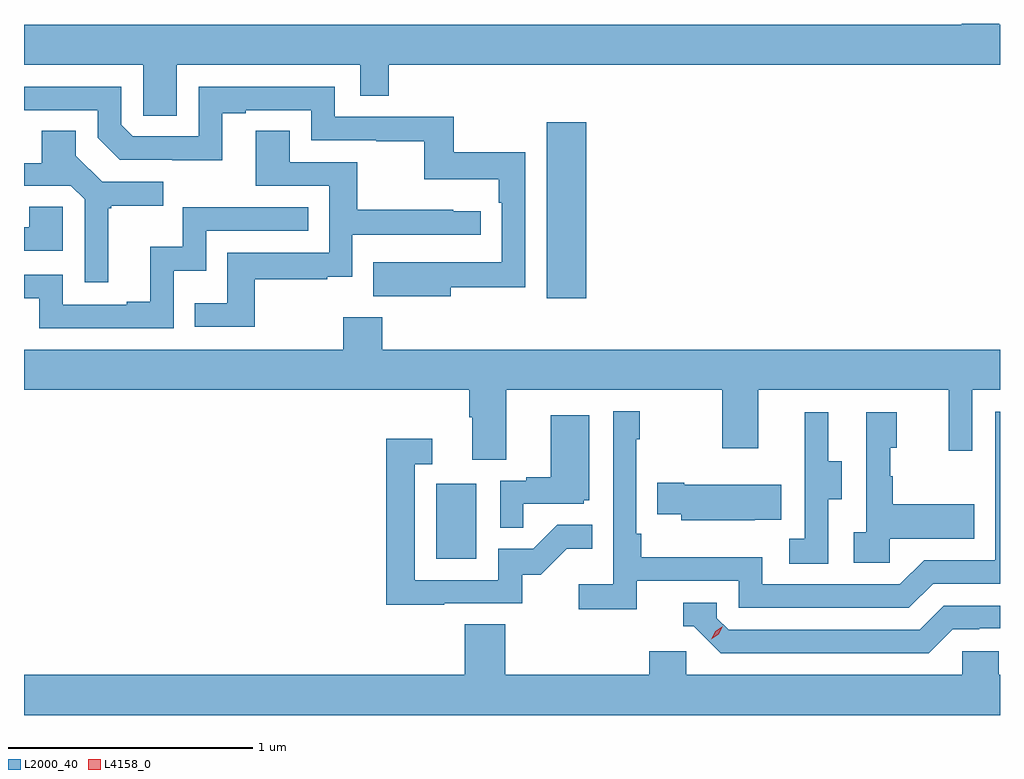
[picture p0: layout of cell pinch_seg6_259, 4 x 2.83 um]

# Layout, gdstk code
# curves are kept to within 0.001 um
import gdstk
lib = gdstk.Library(unit=1e-6, precision=1e-09)
def R(c, l, rs):  # rectangles x0, y0, x1, y1
    for r in rs: c.add(gdstk.rectangle(r[:2], r[2:], *l))
def P(c, l, *ps):  # polygons
    for p in ps: c.add(gdstk.Polygon(p, *l))
L2000_40 = (2000, 40)
L4158_0 = (4158, 0)

pinch_seg6_259 = lib.new_cell('pinch_seg6_259')
R(pinch_seg6_259, L2000_40, [(1081.736,917.34,1081.9,917.647), (1082.189,918.408,1082.35,919.129)])
P(pinch_seg6_259, L2000_40, [(1080.673,919.364),(1081.425,919.364),(1081.425,919.237),(1081.541,919.237),(1081.541,919.364),(1084.046,919.364),(1084.046,919.528),(1084.042,919.528),(1084.042,919.532),(1083.89,919.532),(1083.89,919.528),(1080.046,919.528),(1080.046,919.364),(1080.534,919.364),(1080.534,919.156),(1080.673,919.156)],
  [(1081.795,918.454),(1082.1,918.454),(1082.1,919.006),(1081.807,919.006),(1081.807,919.152),(1081.32,919.152),(1081.32,919.275),(1080.762,919.275),(1080.762,919.071),(1080.492,919.071),(1080.444,919.119),(1080.444,919.275),(1080.046,919.275),(1080.046,919.179),(1080.348,919.179),(1080.348,919.065),(1080.438,918.975),(1080.859,918.974),(1080.859,919.167),(1080.955,919.167),(1080.955,919.179),(1081.224,919.179),(1081.224,919.056),(1081.489,919.056),(1081.489,919.051),(1081.686,919.051),(1081.686,918.896),(1081.991,918.896),(1081.991,918.8),(1082.004,918.8),(1082.004,918.555),(1081.477,918.556),(1081.477,918.416),(1081.795,918.416)],
  [(1080.391,918.777),(1080.403,918.777),(1080.403,918.788),(1080.616,918.788),(1080.616,918.885),(1080.366,918.885),(1080.259,918.992),(1080.259,919.094),(1080.119,919.094),(1080.119,918.962),(1080.046,918.962),(1080.046,918.87),(1080.237,918.87),(1080.294,918.813),(1080.294,918.474),(1080.391,918.474)],
  [(1080.991,918.486),(1081.289,918.486),(1081.289,918.497),(1081.392,918.497),(1081.392,918.669),(1081.918,918.669),(1081.918,918.765),(1081.805,918.765),(1081.805,918.77),(1081.412,918.77),(1081.412,918.966),(1081.135,918.966),(1081.135,919.094),(1080.995,919.094),(1080.995,918.87),(1081.296,918.87),(1081.296,918.594),(1080.88,918.594),(1080.88,918.388),(1080.745,918.388),(1080.745,918.291),(1080.991,918.291)],
  [(1080.204,918.783),(1080.067,918.783),(1080.067,918.699),(1080.046,918.699),(1080.046,918.603),(1080.204,918.603)],
  [(1080.66,918.521),(1080.792,918.521),(1080.792,918.684),(1081.211,918.684),(1081.211,918.78),(1080.696,918.78),(1080.696,918.619),(1080.563,918.619),(1080.563,918.394),(1080.467,918.394),(1080.467,918.381),(1080.204,918.381),(1080.204,918.504),(1080.046,918.504),(1080.046,918.408),(1080.108,918.408),(1080.108,918.285),(1080.66,918.285)],
  [(1082.023,918.032),(1082.908,918.032),(1082.908,917.793),(1083.055,917.793),(1083.055,918.032),(1083.836,918.032),(1083.836,917.784),(1083.933,917.784),(1083.933,918.032),(1084.046,918.032),(1084.046,918.196),(1081.514,918.196),(1081.514,918.331),(1081.354,918.331),(1081.354,918.196),(1080.046,918.196),(1080.046,918.032),(1081.871,918.032),(1081.871,917.92),(1081.883,917.92),(1081.883,917.746),(1082.023,917.746)],
  [(1082.558,917.25),(1082.976,917.25),(1082.976,917.139),(1083.673,917.139),(1083.772,917.238),(1084.046,917.238),(1084.046,917.943),(1084.026,917.943),(1084.026,917.334),(1083.735,917.334),(1083.636,917.235),(1083.072,917.235),(1083.072,917.347),(1082.576,917.347),(1082.576,917.443),(1082.556,917.443),(1082.556,917.831),(1082.569,917.831),(1082.569,917.944),(1082.46,917.944),(1082.46,917.236),(1082.319,917.236),(1082.319,917.134),(1082.558,917.134)],
  [(1083.342,917.584),(1083.397,917.584),(1083.397,917.739),(1083.343,917.739),(1083.343,917.941),(1083.245,917.941),(1083.245,917.727),(1083.246,917.727),(1083.246,917.423),(1083.183,917.423),(1083.183,917.32),(1083.342,917.32)],
  [(1083.594,917.423),(1083.941,917.423),(1083.941,917.563),(1083.607,917.563),(1083.607,917.678),(1083.597,917.678),(1083.597,917.796),(1083.622,917.796),(1083.622,917.941),(1083.498,917.941),(1083.498,917.45),(1083.447,917.45),(1083.447,917.325),(1083.594,917.325)],
  [(1082.093,917.565),(1082.34,917.565),(1082.34,917.58),(1082.362,917.58),(1082.362,917.929),(1082.204,917.929),(1082.204,917.674),(1082.105,917.674),(1082.105,917.661),(1081.998,917.661),(1081.998,917.467),(1082.093,917.467)],
  [(1081.769,917.157),(1082.088,917.157),(1082.088,917.274),(1082.164,917.274),(1082.271,917.381),(1082.375,917.381),(1082.375,917.48),(1082.231,917.48),(1082.133,917.382),(1081.989,917.382),(1081.989,917.253),(1081.647,917.253),(1081.647,917.727),(1081.72,917.727),(1081.72,917.833),(1081.531,917.833),(1081.531,917.152),(1081.769,917.152)],
  [(1083.041,917.501),(1083.149,917.501),(1083.149,917.644),(1082.752,917.644),(1082.752,917.652),(1082.641,917.652),(1082.641,917.522),(1082.739,917.522),(1082.739,917.498),(1083.041,917.498)],
  [(1083.853,917.052),(1083.96,917.052),(1083.96,917.055),(1084.046,917.055),(1084.046,917.148),(1083.816,917.148),(1083.717,917.049),(1082.934,917.049),(1082.886,917.097),(1082.886,917.16),(1082.747,917.16),(1082.747,917.064),(1082.79,917.064),(1082.901,916.953),(1083.754,916.953)],
  [(1084.046,916.864),(1084.041,916.864),(1084.041,916.962),(1083.891,916.962),(1083.891,916.864),(1082.76,916.864),(1082.76,916.962),(1082.609,916.962),(1082.609,916.864),(1082.018,916.864),(1082.018,917.072),(1081.853,917.072),(1081.853,916.864),(1080.046,916.864),(1080.046,916.7),(1084.046,916.7)])
P(pinch_seg6_259, L4158_0, [(1082.863,917.011),(1082.863,917.011),(1082.879,917.044),(1082.909,917.064),(1082.909,917.064),(1082.909,917.063),(1082.894,917.031),(1082.863,917.011)])

lib.write_gds('pinch_seg6_259.gds')
